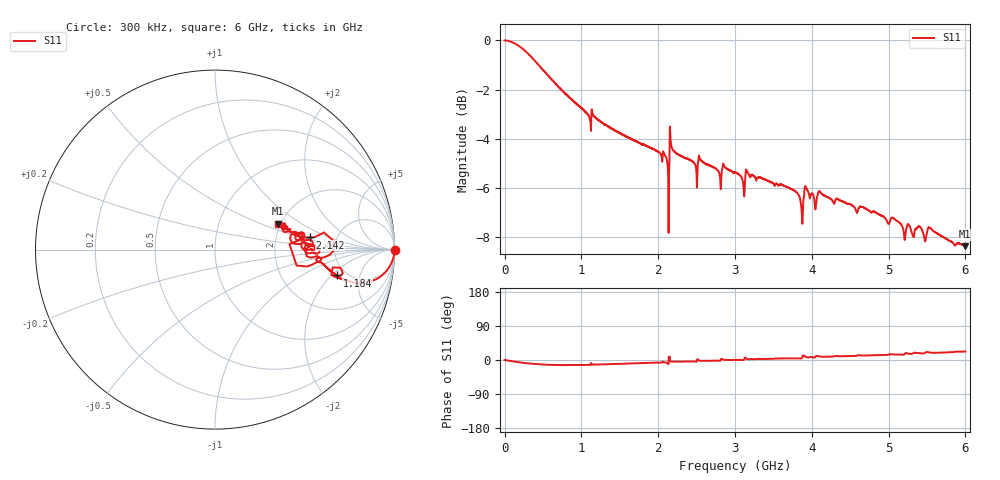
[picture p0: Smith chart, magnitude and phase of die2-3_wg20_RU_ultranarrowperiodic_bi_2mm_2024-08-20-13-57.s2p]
!Keysight Technologies,P9374A,MY57304198,A.17.20.09
!Date: Tuesday, August 20, 2024 13:57:41
!Correction: S11(C  1-Port  )
!S21(C  1-Port  )
!S12(Off)
!S22(Off)
!S2P File: Measurements: S11, S21, S12, S22:
# Hz S  dB  R 50
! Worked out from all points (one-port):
!   6000 points, 300 kHz to 6 GHz, reference 50 ohm
!   lowest |S11| = -8.4 dB at 5.997 GHz (marker M1), VSWR 2.23, Z = 97 + j32.9 ohm
!   |S11| at or under -10 dB: nowhere
!   S11 on the Smith chart (normalised r, x): 300 kHz: open; 1.184 GHz: 4.20, -2.34; 2.142 GHz: 3.15, +0.59; 6 GHz: 1.94, +0.66
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300000  0.00 -0.0  -200.00 45.0  -200.00 45.0  -200.00 45.0
2.363275e8  -0.34 -7.2  -200.00 45.0  -200.00 45.0  -200.00 45.0
4.153484e8  -0.90 -10.9  -200.00 45.0  -200.00 45.0  -200.00 45.0
1.000417e9  -2.75 -13.1  -200.00 45.0  -200.00 45.0  -200.00 45.0
1.184438e9  -3.16 -12.0  -200.00 45.0  -200.00 45.0  -200.00 45.0
2.000533e9  -4.53 -6.9  -200.00 45.0  -200.00 45.0  -200.00 45.0
2.104546e9  -4.79 -6.7  -200.00 45.0  -200.00 45.0  -200.00 45.0
2.14155e9  -5.48 7.3  -200.00 45.0  -200.00 45.0  -200.00 45.0
2.178554e9  -4.37 -4.2  -200.00 45.0  -200.00 45.0  -200.00 45.0
2.48459e9  -5.08 -4.1  -200.00 45.0  -200.00 45.0  -200.00 45.0
2.553598e9  -4.88 -2.3  -200.00 45.0  -200.00 45.0  -200.00 45.0
2.797626e9  -5.44 -2.0  -200.00 45.0  -200.00 45.0  -200.00 45.0
3.00065e9  -5.37 0.3  -200.00 45.0  -200.00 45.0  -200.00 45.0
3.08766e9  -5.60 -0.0  -200.00 45.0  -200.00 45.0  -200.00 45.0
3.148667e9  -5.27 3.2  -200.00 45.0  -200.00 45.0  -200.00 45.0
3.741737e9  -6.07 4.5  -200.00 45.0  -200.00 45.0  -200.00 45.0
3.870752e9  -7.13 4.4  -200.00 45.0  -200.00 45.0  -200.00 45.0
3.930759e9  -6.03 7.6  -200.00 45.0  -200.00 45.0  -200.00 45.0
4.000767e9  -6.23 7.7  -200.00 45.0  -200.00 45.0  -200.00 45.0
5.000883e9  -7.49 14.4  -200.00 45.0  -200.00 45.0  -200.00 45.0
5.997e9  -8.39 22.4  -200.00 45.0  -200.00 45.0  -200.00 45.0
6e9  -8.38 22.3  -200.00 45.0  -200.00 45.0  -200.00 45.0
